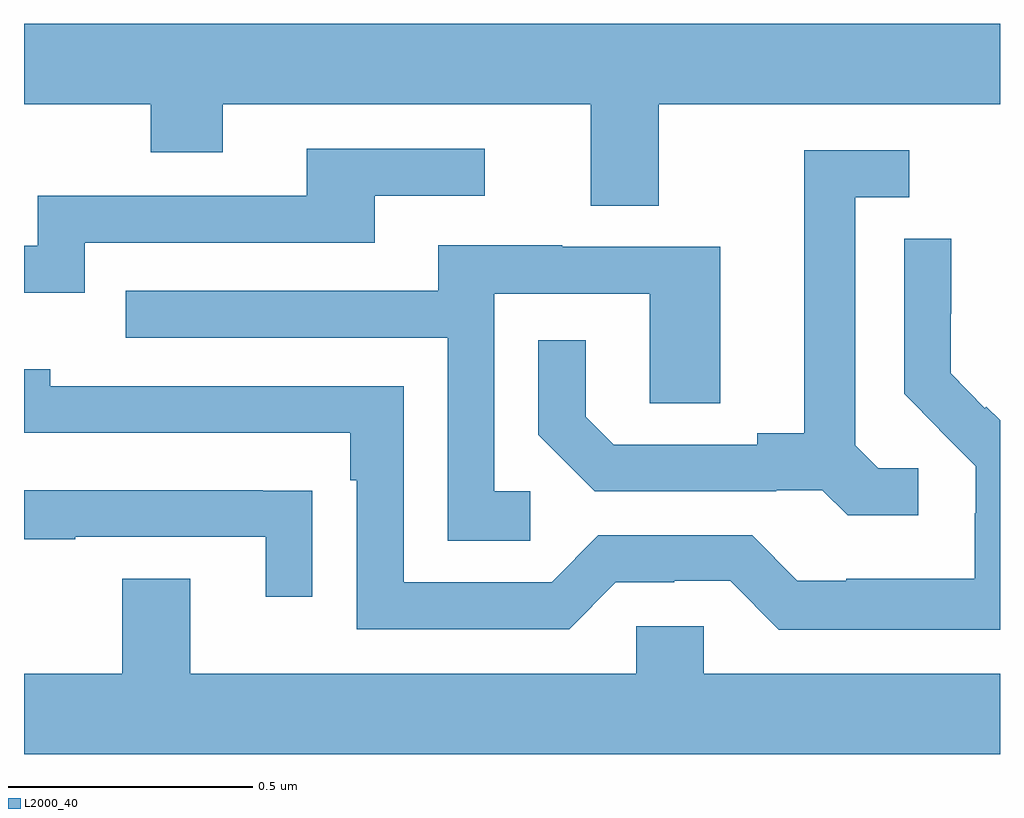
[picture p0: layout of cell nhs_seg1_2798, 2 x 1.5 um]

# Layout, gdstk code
import gdstk
lib = gdstk.Library(unit=1e-6, precision=1e-09)
def P(c, l, *ps):  # polygons
    for p in ps: c.add(gdstk.Polygon(p, *l))
L2000_40 = (2000, 40)

nhs_seg1_2798 = lib.new_cell('nhs_seg1_2798')
P(nhs_seg1_2798, L2000_40, [(147.301,523.76),(148,523.76),(148,523.924),(146,523.924),(146,523.76),(146.26,523.76),(146.26,523.661),(146.407,523.661),(146.407,523.76),(147.161,523.76),(147.161,523.552),(147.301,523.552)],
  [(146.124,523.476),(146.719,523.476),(146.719,523.572),(146.944,523.572),(146.944,523.668),(146.579,523.668),(146.579,523.572),(146.028,523.572),(146.028,523.47),(146,523.47),(146,523.373),(146.124,523.373)],
  [(147.832,523.014),(147.75,523.014),(147.703,523.061),(147.703,523.569),(147.814,523.569),(147.814,523.665),(147.599,523.665),(147.599,523.085),(147.503,523.085),(147.503,523.062),(147.208,523.062),(147.151,523.119),(147.151,523.276),(147.054,523.276),(147.054,523.082),(147.17,522.966),(147.542,522.966),(147.542,522.969),(147.636,522.969),(147.688,522.917),(147.832,522.917)],
  [(148,523.112),(147.972,523.14),(147.969,523.137),(147.899,523.208),(147.899,523.33),(147.9,523.33),(147.9,523.484),(147.804,523.484),(147.804,523.166),(147.877,523.093),(147.876,523.092),(147.95,523.018),(147.95,522.921),(147.948,522.921),(147.948,522.787),(147.685,522.787),(147.685,522.783),(147.585,522.783),(147.492,522.876),(147.177,522.876),(147.081,522.78),(146.778,522.78),(146.778,523.182),(146.054,523.182),(146.054,523.216),(146,523.216),(146,523.086),(146.669,523.086),(146.669,522.989),(146.682,522.989),(146.682,522.684),(147.117,522.684),(147.213,522.78),(147.332,522.78),(147.332,522.783),(147.447,522.783),(147.547,522.683),(148,522.683)],
  [(147.037,522.966),(146.964,522.966),(146.964,523.371),(147.282,523.371),(147.282,523.147),(147.427,523.147),(147.427,523.467),(147.103,523.467),(147.103,523.471),(146.849,523.471),(146.849,523.377),(146.209,523.377),(146.209,523.281),(146.868,523.281),(146.868,522.865),(147.037,522.865)],
  [(146.591,522.968),(146.489,522.968),(146.489,522.969),(146,522.969),(146,522.868),(146.105,522.868),(146.105,522.873),(146.495,522.873),(146.495,522.75),(146.591,522.75)],
  [(148,522.592),(147.393,522.592),(147.393,522.69),(147.255,522.69),(147.255,522.592),(146.341,522.592),(146.341,522.787),(146.201,522.787),(146.201,522.592),(146,522.592),(146,522.428),(148,522.428)])

lib.write_gds('nhs_seg1_2798.gds')
